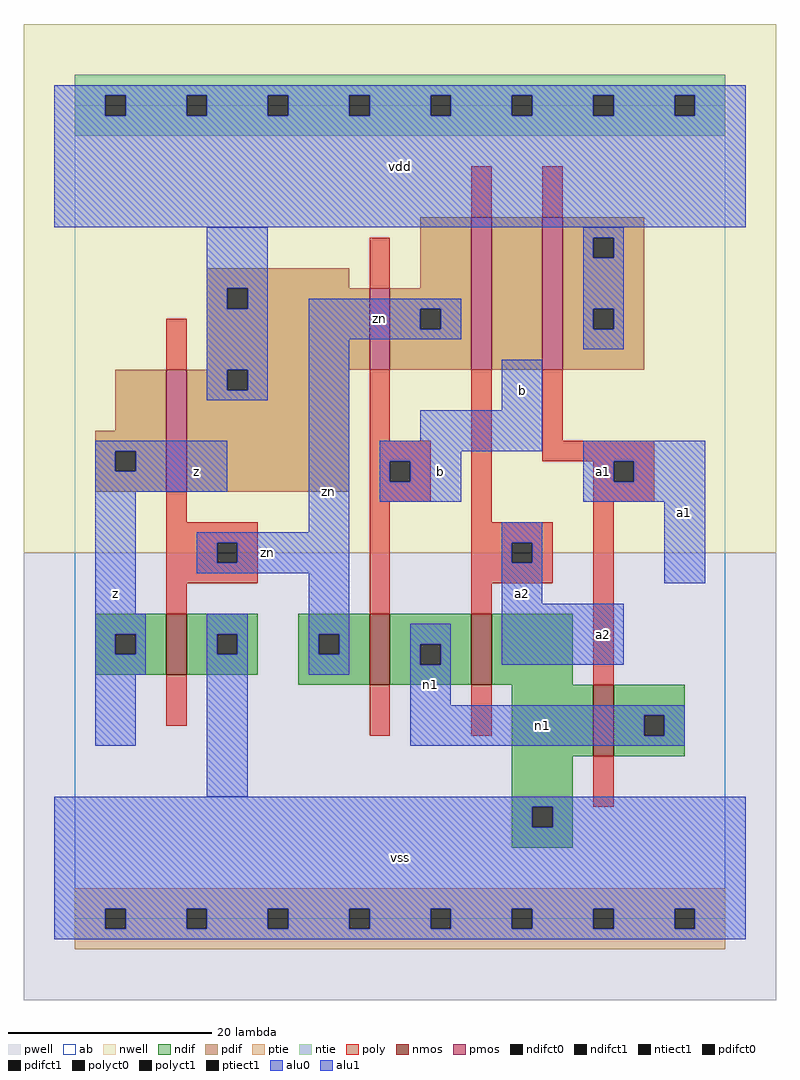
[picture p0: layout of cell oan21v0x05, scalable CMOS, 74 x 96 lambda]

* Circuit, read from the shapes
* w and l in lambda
.subckt oan21v0x05 a1 a2 b n1 vdd vss z zn
M1 vss zn z vss nfet w=6 l=2
M2 n1 b zn vss nfet w=7 l=2
M3 vss a2 n1 vss nfet w=7 l=2
M4 n1 a1 vss vss nfet w=7 l=2
M5 vdd zn z vdd pfet w=12 l=2
M6 zn b vdd vdd pfet w=8 l=2
M7 n2 a2 zn vdd pfet w=15 l=2
M8 vdd a1 n2 vdd pfet w=15 l=2
.ends

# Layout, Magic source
magic
tech scmos
<< ab >>
rect 0 0 64 80
<< nwell >>
rect -5 36 69 88
<< pwell >>
rect -5 -8 69 36
<< poly >>
rect 39 69 41 74
rect 46 69 48 74
rect 29 62 31 67
rect 9 54 11 59
rect 29 47 31 54
rect 29 45 35 47
rect 29 43 31 45
rect 33 43 35 45
rect 9 39 11 42
rect 29 41 35 43
rect 9 37 18 39
rect 9 35 14 37
rect 16 35 18 37
rect 9 33 18 35
rect 9 30 11 33
rect 29 30 31 41
rect 39 39 41 54
rect 46 47 48 54
rect 46 45 57 47
rect 51 43 53 45
rect 55 43 57 45
rect 51 41 57 43
rect 39 37 47 39
rect 39 35 43 37
rect 45 35 47 37
rect 39 33 47 35
rect 39 30 41 33
rect 9 19 11 24
rect 51 23 53 41
rect 29 18 31 23
rect 39 18 41 23
rect 51 11 53 16
<< ndif >>
rect 2 28 9 30
rect 2 26 4 28
rect 6 26 9 28
rect 2 24 9 26
rect 11 28 18 30
rect 11 26 14 28
rect 16 26 18 28
rect 11 24 18 26
rect 22 28 29 30
rect 22 26 24 28
rect 26 26 29 28
rect 22 23 29 26
rect 31 27 39 30
rect 31 25 34 27
rect 36 25 39 27
rect 31 23 39 25
rect 41 23 49 30
rect 43 16 51 23
rect 53 20 60 23
rect 53 18 56 20
rect 58 18 60 20
rect 53 16 60 18
rect 43 11 49 16
rect 43 9 45 11
rect 47 9 49 11
rect 43 7 49 9
<< pdif >>
rect 13 62 27 64
rect 34 62 39 69
rect 13 60 15 62
rect 17 60 29 62
rect 13 54 29 60
rect 31 60 39 62
rect 31 58 34 60
rect 36 58 39 60
rect 31 54 39 58
rect 41 54 46 69
rect 48 67 56 69
rect 48 65 51 67
rect 53 65 56 67
rect 48 60 56 65
rect 48 58 51 60
rect 53 58 56 60
rect 48 54 56 58
rect 4 48 9 54
rect 2 46 9 48
rect 2 44 4 46
rect 6 44 9 46
rect 2 42 9 44
rect 11 52 15 54
rect 17 52 27 54
rect 11 42 27 52
<< alu1 >>
rect -2 81 66 82
rect -2 79 3 81
rect 5 79 11 81
rect 13 79 19 81
rect 21 79 27 81
rect 29 79 35 81
rect 37 79 43 81
rect 45 79 51 81
rect 53 79 59 81
rect 61 79 66 81
rect -2 68 66 79
rect 2 46 15 47
rect 2 44 4 46
rect 6 44 15 46
rect 2 42 15 44
rect 2 30 6 42
rect 42 50 46 55
rect 34 47 46 50
rect 30 46 46 47
rect 30 45 38 46
rect 30 43 31 45
rect 33 43 38 45
rect 30 41 38 43
rect 50 45 62 47
rect 50 43 53 45
rect 55 43 62 45
rect 50 41 62 43
rect 2 28 7 30
rect 2 26 4 28
rect 6 26 7 28
rect 2 24 7 26
rect 2 17 6 24
rect 42 37 46 39
rect 42 35 43 37
rect 45 35 46 37
rect 42 31 46 35
rect 58 33 62 41
rect 42 25 54 31
rect -2 11 66 12
rect -2 9 45 11
rect 47 9 66 11
rect -2 1 66 9
rect -2 -1 3 1
rect 5 -1 11 1
rect 13 -1 19 1
rect 21 -1 27 1
rect 29 -1 35 1
rect 37 -1 43 1
rect 45 -1 51 1
rect 53 -1 59 1
rect 61 -1 66 1
rect -2 -2 66 -1
<< ptie >>
rect 0 1 64 3
rect 0 -1 3 1
rect 5 -1 11 1
rect 13 -1 19 1
rect 21 -1 27 1
rect 29 -1 35 1
rect 37 -1 43 1
rect 45 -1 51 1
rect 53 -1 59 1
rect 61 -1 64 1
rect 0 -3 64 -1
<< ntie >>
rect 0 81 64 83
rect 0 79 3 81
rect 5 79 11 81
rect 13 79 19 81
rect 21 79 27 81
rect 29 79 35 81
rect 37 79 43 81
rect 45 79 51 81
rect 53 79 59 81
rect 61 79 64 81
rect 0 77 64 79
<< nmos >>
rect 9 24 11 30
rect 29 23 31 30
rect 39 23 41 30
rect 51 16 53 23
<< pmos >>
rect 29 54 31 62
rect 39 54 41 69
rect 46 54 48 69
rect 9 42 11 54
<< polyct0 >>
rect 14 35 16 37
<< polyct1 >>
rect 31 43 33 45
rect 53 43 55 45
rect 43 35 45 37
<< ndifct0 >>
rect 14 26 16 28
rect 24 26 26 28
rect 34 25 36 27
rect 56 18 58 20
<< ndifct1 >>
rect 4 26 6 28
rect 45 9 47 11
<< ntiect1 >>
rect 3 79 5 81
rect 11 79 13 81
rect 19 79 21 81
rect 27 79 29 81
rect 35 79 37 81
rect 43 79 45 81
rect 51 79 53 81
rect 59 79 61 81
<< ptiect1 >>
rect 3 -1 5 1
rect 11 -1 13 1
rect 19 -1 21 1
rect 27 -1 29 1
rect 35 -1 37 1
rect 43 -1 45 1
rect 51 -1 53 1
rect 59 -1 61 1
<< pdifct0 >>
rect 15 60 17 62
rect 34 58 36 60
rect 51 65 53 67
rect 51 58 53 60
rect 15 52 17 54
<< pdifct1 >>
rect 4 44 6 46
<< alu0 >>
rect 13 62 19 68
rect 13 60 15 62
rect 17 60 19 62
rect 50 67 54 68
rect 50 65 51 67
rect 53 65 54 67
rect 13 54 19 60
rect 13 52 15 54
rect 17 52 19 54
rect 13 51 19 52
rect 23 60 38 61
rect 23 58 34 60
rect 36 58 38 60
rect 23 57 38 58
rect 50 60 54 65
rect 50 58 51 60
rect 53 58 54 60
rect 23 38 27 57
rect 50 56 54 58
rect 12 37 27 38
rect 12 35 14 37
rect 16 35 27 37
rect 12 34 27 35
rect 13 28 17 30
rect 13 26 14 28
rect 16 26 17 28
rect 13 12 17 26
rect 23 28 27 34
rect 23 26 24 28
rect 26 26 27 28
rect 23 24 27 26
rect 33 27 37 29
rect 33 25 34 27
rect 36 25 37 27
rect 33 21 37 25
rect 33 20 60 21
rect 33 18 56 20
rect 58 18 60 20
rect 33 17 60 18
<< labels >>
rlabel alu0 19 36 19 36 6 zn
rlabel alu0 25 42 25 42 6 zn
rlabel alu0 35 23 35 23 6 n1
rlabel alu0 30 59 30 59 6 zn
rlabel alu0 46 19 46 19 6 n1
rlabel alu1 4 32 4 32 6 z
rlabel alu1 12 44 12 44 6 z
rlabel alu1 32 6 32 6 6 vss
rlabel alu1 44 32 44 32 6 a2
rlabel alu1 36 44 36 44 6 b
rlabel alu1 44 52 44 52 6 b
rlabel alu1 32 74 32 74 6 vdd
rlabel alu1 52 28 52 28 6 a2
rlabel alu1 60 40 60 40 6 a1
rlabel alu1 52 44 52 44 6 a1
<< end >>
